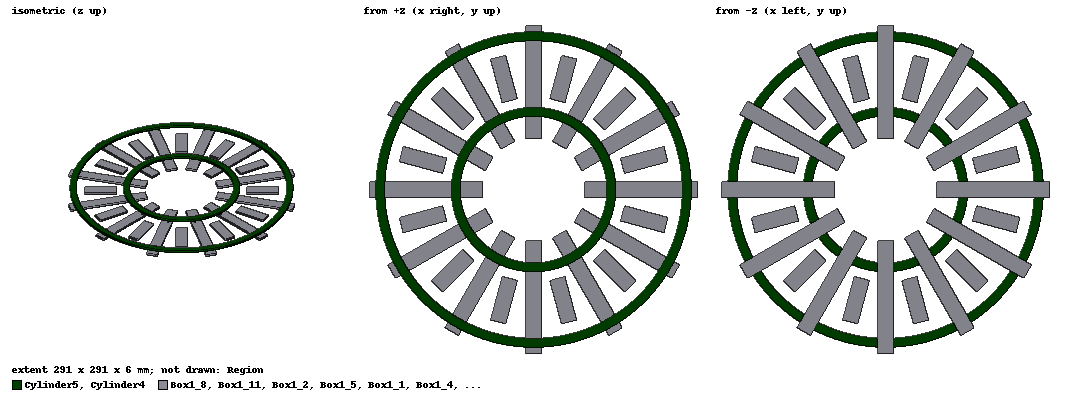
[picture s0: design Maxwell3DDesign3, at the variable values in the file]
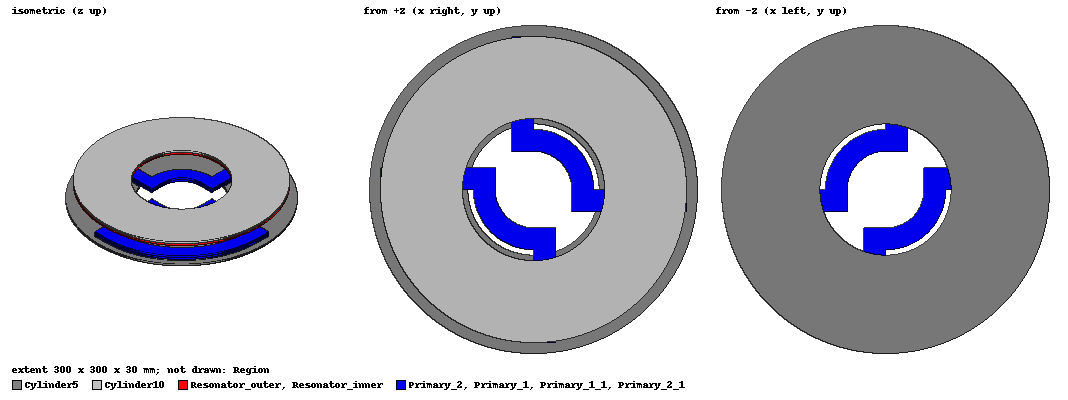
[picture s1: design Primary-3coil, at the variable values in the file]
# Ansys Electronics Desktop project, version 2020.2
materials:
  vacuum: permittivity=1
  copper: permeability=0.999991 conductivity=58000000
  ferrite: permittivity=12 permeability=1000 conductivity=0.01

design Maxwell3DDesign3 (Maxwell 3D, Magnetostatic, model units mm)
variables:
  ferrite_height = 2mm
  r_inner_ferrite = 45mm
  r_outer_ferrite = 140mm
  airgap_r2s = 2mm
  r_inner_inner_rs = 65mm
  ch = 2mm
  Np_inner = 10
  r_inner_outer_rs = r_inner_inner_rs+Ns_inner*ch
  r_outer_inner_rs = r_outer_outer_rs-Ns_outer*ch
  r_outer_outer_rs = 140mm
  Np_outer = 10
  airgap_r2p = 2mm
  r_inner_outer_rp = r_inner_inner_rp+Np_inner*ch
  r_inner_inner_rp = r_inner_inner_rs
  r_outer_outer_rp = r_outer_outer_rs
  r_outer_inner_rp = r_outer_outer_rp-Np_outer*ch
  Ns_inner = 4
  Ns_outer = 4
  ferite_width = 14mm
  ferrite_length = 20mm
  inner_ferrite = 45.5mm
  number_ferrite = 5
  number_ferrite2 = 2
  inner_ferrite2 = 81.6mm
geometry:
  Cylinder3 = cylinder(axis=Z, base_centre=(0mm, 0mm, (ferrite_height/2)+airgap_r2s), radius=r_inner_inner_rs, height=ch)
  Cylinder4 [copper] = cylinder(axis=Z, base_centre=(0mm, 0mm, (ferrite_height/2)+airgap_r2s), radius=r_inner_outer_rs, height=ch)
  Cylinder4.subtract(Cylinder3)
  Cylinder5 [copper] = cylinder(axis=Z, base_centre=(0mm, 0mm, (ferrite_height/2)+airgap_r2s), radius=r_outer_outer_rs, height=ch)
  Cylinder6 = cylinder(axis=Z, base_centre=(0mm, 0mm, (ferrite_height/2)+airgap_r2s), radius=r_outer_inner_rs, height=ch)
  Cylinder5.subtract(Cylinder6)
  inner_rs [copper] = Cylinder4.section(plane=YZ)
  outer_rs [copper] = Cylinder5.section(plane=YZ)
  inner_rs.separate_bodies()
  outer_rs.separate_bodies()
  Region [vacuum] = region(absolute_offset=200mm on all sides)
  Box1 [ferrite] = box(corner=(-ferite_width/2, inner_ferrite, -ferrite_height/2), size=(ferite_width, ferrite_length*number_ferrite, ferrite_height))
  Box2 [ferrite] = box(corner=(-ferite_width/2, inner_ferrite2, -ferrite_height/2), size=(ferite_width, ferrite_length*number_ferrite2, ferrite_height))
  Box2.rotate(axis=Z, angle=15deg)
  Box1_1..Box1_11 [ferrite] = Box1.duplicate_around_axis(axis=Z, angle=30deg, total=12)
  Box2_1..Box2_11 [ferrite] = Box2.duplicate_around_axis(axis=Z, angle=30deg, total=12)
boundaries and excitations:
  Insulating1: Insulating Objects=[Cylinder4, Cylinder5]
  ZeroTangentialHField1: Zero Tangential H Field Faces=Region.face(all 6)
  c_in_s: Current Objects=inner_rs Current=10A IsSolid=false Point_out_of_terminal=true
  c_out_s: Current Objects=outer_rs Current=10A IsSolid=false Point_out_of_terminal=false
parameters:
  Matrix1: Matrix c_in_s: NumberOfTurns=Ns_inner; c_out_s: NumberOfTurns=Ns_outer; group Group4 = c_in_s, c_out_s (1 parallel)
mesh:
  initial mesh: GlobalCurvilinear{Apply}
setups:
  Setup1: Magnetostatic MaximumPasses=10 MinimumPasses=2 MinimumConvergedPasses=1 PercentRefinement=30 PercentError=1 NonLinearResidual=0.001

design Primary-3coil (Maxwell 3D, Magnetostatic, model units mm)
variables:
  r_inner_primary = 35mm
  ch = 2mm
  Nprimer = 10
  r_outer_primary = 140mm
  alfa = alpha*PI/180
  alpha = 90
  Ip = 5A
  DeltaPrimerX = 0mm
  f2p = 1mm
  fh = 2mm
  r_inner_fp = 60mm
  r_outer_fp = 150mm
  layer_distance = 3mm
  airgap_p2r = 20mm
  r_inner_resonat = 65mm
  Nresonat = 4
  r_outer_resonat = 140mm
  f2r = 1mm
  Ir = 5A
  r_inner_fr = 65mm
  r_outer_fr = 140mm
  airgap = 20mm
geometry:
  coordinate_system Primary_Coil = origin=(0mm, 0mm, 0mm) x=(1mm, 0mm, 0mm) y=(0mm, 1mm, 0mm)
  Cylinder1 = cylinder(axis=Z, base_centre=(0mm, 0mm, 0mm), radius=r_inner_primary, height=-ch) in Primary_Coil
  PrimaryInnerCoil = cylinder(axis=Z, base_centre=(0mm, 0mm, 0mm), radius=r_inner_primary+Nprimer*ch, height=-ch) in Primary_Coil
  PrimaryInnerCoil.subtract(Cylinder1)
  Cylinder2 = cylinder(axis=Z, base_centre=(0mm, 0mm, 0mm), radius=r_outer_primary, height=-ch) in Primary_Coil
  Cylinder3 = cylinder(axis=Z, base_centre=(0mm, 0mm, 0mm), radius=r_outer_primary-Nprimer*ch, height=-ch) in Primary_Coil
  Cylinder2.subtract(Cylinder3)
  coordinate_system primary_angle = origin=(0mm, 0mm, 0mm) x=(cos(alfa), sin(alfa), 0mm) y=(-sin(alfa), cos(alfa), 0mm) in Primary_Coil
  [PrimaryInnerCoil, Cylinder2].split(plane=ZX, keep=PositiveOnly) in Primary_Coil
  [PrimaryInnerCoil, Cylinder2].split(plane=ZX, keep=NegativeOnly) in primary_angle
  Primary_1 [copper] = box(corner=(r_inner_primary, 0mm, 0mm), size=(r_outer_primary-r_inner_primary, -Nprimer*ch, -ch)) in Primary_Coil
  Box2 = box(corner=(r_inner_primary, 0mm, 0mm), size=(r_outer_primary-r_inner_primary, Nprimer*ch, -ch)) in primary_angle
  Primary_1.unite(Box2, Cylinder2, PrimaryInnerCoil)
  coordinate_system primary_current_surface = origin=(0mm, 0mm, 0mm) x=(cos(alfa/2), sin(alfa/2), 0mm) y=(-sin(alfa/2), cos(alfa/2), 0mm) in Primary_Coil
  Primary_1_Current [copper] = Primary_1.section(plane=ZX) in primary_current_surface
  Primary_1_Current.separate_bodies()
  coordinate_system Primer_Delta_Origin = origin=(-DeltaPrimerX, 0mm, 0mm) x=(1mm, 0mm, 0mm) y=(0mm, 1mm, 0mm) in primary_current_surface
  Primary_2_Current [copper] = Primary_1_Current.duplicate_around_axis(axis=Z, angle=180deg, total=2) in Primer_Delta_Origin
  Primary_2 [copper] = Primary_1.duplicate_around_axis(axis=Z, angle=180deg, total=2) in Primer_Delta_Origin
  coordinate_system ferrite_primary = origin=(0mm, 0mm, -ch-f2p) x=(1mm, 0mm, 0mm) y=(0mm, 1mm, 0mm) in Primer_Delta_Origin
  Cylinder4 = cylinder(axis=Z, base_centre=(0mm, 0mm, 0mm), radius=r_inner_fp, height=-fh) in ferrite_primary
  Cylinder5 [ferrite] = cylinder(axis=Z, base_centre=(0mm, 0mm, 0mm), radius=r_outer_fp, height=-fh) in ferrite_primary
  Cylinder5.subtract(Cylinder4)
  Region [vacuum] = region(absolute_offset=300mm on all sides) in ferrite_primary
  Primary_1_1 [copper] = Primary_1.duplicate_along_line(step=(0mm, 0mm, layer_distance), total=2) in ferrite_primary
  Primary_2_1 [copper] = Primary_2.duplicate_along_line(step=(0mm, 0mm, layer_distance), total=2) in ferrite_primary
  Primary_1_Current_1 [copper] = Primary_1_Current.duplicate_along_line(step=(0mm, 0mm, layer_distance), total=2) in ferrite_primary
  Primary_2_Current_1 [copper] = Primary_2_Current.duplicate_along_line(step=(0mm, 0mm, layer_distance), total=2) in ferrite_primary
  coordinate_system resonator_coil = origin=(0mm, 0mm, airgap_p2r) x=(1mm, 0mm, 0mm) y=(0mm, 1mm, 0mm)
  Cylinder6 = cylinder(axis=Z, base_centre=(0mm, 0mm, 0mm), radius=r_inner_resonat, height=ch) in resonator_coil
  Resonator_inner [copper] = cylinder(axis=Z, base_centre=(0mm, 0mm, 0mm), radius=r_inner_resonat+Nresonat*ch, height=ch) in resonator_coil
  Resonator_inner.subtract(Cylinder6)
  Resonator_outer [copper] = cylinder(axis=Z, base_centre=(0mm, 0mm, 0mm), radius=r_outer_resonat, height=ch) in resonator_coil
  Cylinder8 = cylinder(axis=Z, base_centre=(0mm, 0mm, 0mm), radius=r_outer_resonat-Nresonat*ch, height=ch) in resonator_coil
  Resonator_outer.subtract(Cylinder8)
  Resonator_outer_current [copper, oriented by resonator_coil] = Resonator_outer.section(plane=YZ) in resonator_coil
  Resonator_inner_current [copper, oriented by resonator_coil] = Resonator_inner.section(plane=YZ) in resonator_coil
  Resonator_inner_current.separate_bodies()
  Resonator_outer_current.separate_bodies()
  coordinate_system resonator_ferrite = origin=(0mm, 0mm, ch+f2r) x=(1mm, 0mm, 0mm) y=(0mm, 1mm, 0mm) in resonator_coil
  Cylinder9 = cylinder(axis=Z, base_centre=(0mm, 0mm, 0mm), radius=r_inner_fr, height=fh) in resonator_ferrite
  Cylinder10 [ferrite] = cylinder(axis=Z, base_centre=(0mm, 0mm, 0mm), radius=r_outer_fr, height=fh) in resonator_ferrite
  Cylinder10.subtract(Cylinder9)
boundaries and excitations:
  Insulating1: Insulating Objects=[Primary_1, Primary_2]
  Ip1: Current Objects=Primary_1_Current Current=Ip IsSolid=false Point_out_of_terminal=true
  Ip2: Current Objects=Primary_2_Current Current=Ip IsSolid=true Point_out_of_terminal=true
  Ip12: Current Objects=Primary_1_Current_1 Current=Ip IsSolid=false Point_out_of_terminal=true
  Ip21: Current Objects=Primary_2_Current_1 Current=Ip IsSolid=false Point_out_of_terminal=true
  Ir_inner: Current Objects=Resonator_inner_current Current=Ir IsSolid=false Point_out_of_terminal=false
  Ir_outer: Current Objects=Resonator_outer_current Current=Ir IsSolid=false Point_out_of_terminal=true
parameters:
  Matrix1: Matrix Ip1, Ip2, Ip12, Ip21: NumberOfTurns=Nprimer; Ir_inner, Ir_outer: NumberOfTurns=Nresonat; group Ip1 = Ip1, Ip12 (1 parallel); group Ip2 = Ip2, Ip21 (1 parallel); group Ir = Ir_inner, Ir_outer (1 parallel)
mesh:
  initial mesh: GlobalCurvilinear{Apply}
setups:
  Setup1: Magnetostatic MaximumPasses=10 MinimumPasses=2 MinimumConvergedPasses=1 PercentRefinement=30 PercentError=1 NonLinearResidual=0.001
